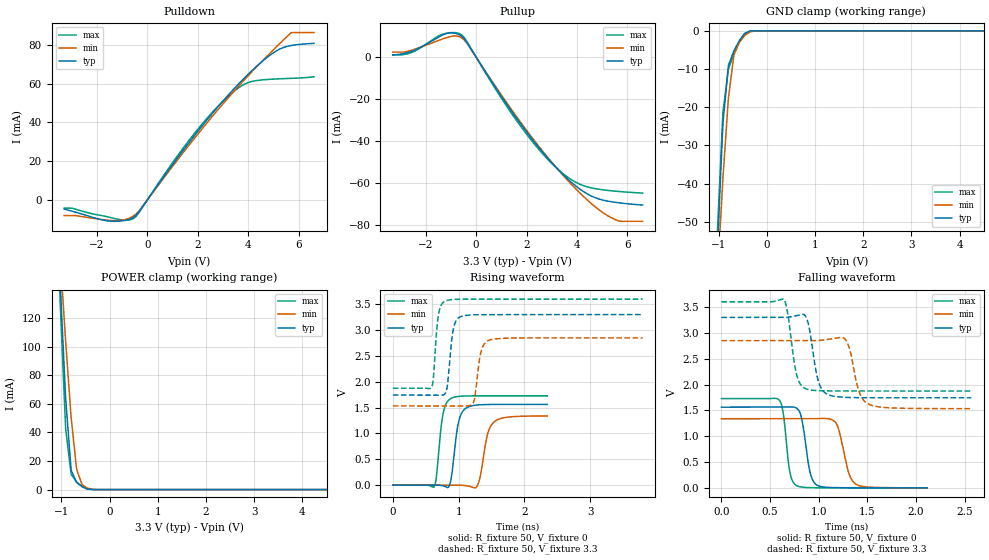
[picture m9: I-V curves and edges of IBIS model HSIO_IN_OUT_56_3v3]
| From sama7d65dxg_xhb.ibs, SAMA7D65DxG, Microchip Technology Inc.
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|   Model   HSIO_IN_OUT_66
[Model] HSIO_IN_OUT_56_3v3
Model_type I/O
Enable   Active-High
Vinl  =  0.99
Vinh  =  2.31
Vmeas =  1.650
| Capacitance   typ   min   max
C_comp   1.083254671296366e-12   1.03480808494306e-12   1.153154263475565e-12
| Variables   typ   min   max
[GND Clamp Reference]   0   0   0
[POWER Clamp Reference]   3.3   2.85   3.6
[Pulldown Reference]   0   0   0
[Pullup Reference]   3.3   2.85   3.6
[Temperature Range]   25   125   -40
[Voltage Range]   3.3   2.85   3.6
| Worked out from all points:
|   slope of the pulldown table from 0 to 0.495 V, typ, clamps not added: 54.1 ohm
|   slope of the pullup table from 0 to 0.495 V, typ, clamps not added: 52.9 ohm
|   GND clamp passes 1 mA (typ) near -0.48 V on its own axis
|   POWER clamp passes 1 mA (typ) near -0.50 V on its own axis
|   falling waveform, R_fixture 50, V_fixture 0: 20-80 % time 75.3ps typ, 98.3ps min, 59.3ps max; typ from 1.56 V to 0.001 V
|   falling waveform, R_fixture 50, V_fixture 3.3: 20-80 % time 85.6ps typ, 98.8ps min, 77.4ps max; typ from 3.3 V to 1.74 V
|   rising waveform, R_fixture 50, V_fixture 0: 20-80 % time 97.8ps typ, 117ps min, 86.8ps max; typ from 0 V to 1.56 V
|   rising waveform, R_fixture 50, V_fixture 3.3: 20-80 % time 74.3ps typ, 85.7ps min, 63.3ps max; typ from 1.74 V to 3.3 V
[GND Clamp]
| Voltage   I(typ)   I(min)   I(max)
-3.3V     -929.1mA   -542.5mA   -1.152A
-1.024V   -57.01mA   -64.02mA   -52.43mA
-910.3mV  -24.22mA   -38.7mA    -21.36mA
-796.6mV  -9.061mA   -17.64mA   -10.08mA
-682.8mV  -5.281mA   -6.355mA   -5.967mA
-569mV    -2.529mA   -3.013mA   -2.708mA
-455.2mV  -640.2uA   -1.179mA   -678.5uA
-341.4mV  -33.9uA    -245.4uA   -23.6uA
-113.8mV  -8.994nA   -845.8nA   -7.941nA
6.6V      0A         0A         0A
[POWER Clamp]
| Voltage   I(typ)   I(min)   I(max)
-3.3V     2.134A     1.237A     2.671A
-1.138V   234.7mA    225.9mA    258.9mA
-1.024V   144.5mA    163.2mA    130.8mA
-910.3mV  63.71mA    103.5mA    42.49mA
-796.6mV  13.62mA    50.36mA    10.73mA
-682.8mV  4.949mA    14.13mA    5.274mA
-569mV    2.064mA    3.434mA    2.12mA
-455.2mV  354.3uA    970.5uA    372.2uA
-227.6mV  175.6nA    10.62uA    16.97nA
6.6V      0A         0A         0A
[Pulldown]
| Voltage   I(typ)   I(min)   I(max)
-3.3V     -4.852mA   -8.208mA   -4.346mA
-1.593V   -10.93mA   -10.58mA   -8.825mA
-1.024V   -10.99mA   -10.62mA   -10.45mA
-569mV    -9.287mA   -8.479mA   -9.859mA
-227.6mV  -4.236mA   -3.977mA   -4.528mA
1.934V    34.38mA    32.96mA    35.5mA
2.731V    47.13mA    45.61mA    47.51mA
3.528V    58.78mA    57.55mA    57.11mA
4.097V    66.27mA    65.63mA    61.08mA
4.893V    75.16mA    76.36mA    62.36mA
5.69V     79.8mA     86.43mA    62.82mA
6.6V      80.95mA    86.52mA    63.61mA
[Pullup]
| Voltage   I(typ)   I(min)   I(max)
-3.3V     1.033mA    2.359mA    1.029mA
-2.503V   2.971mA    3.461mA    2.42mA
-1.138V   11.4mA     9.366mA    11.36mA
-569mV    9.931mA    9.117mA    10.55mA
-341.4mV  6.562mA    6.22mA     6.963mA
1.707V    -30.74mA   -30.01mA   -31.86mA
2.503V    -43.23mA   -42.67mA   -44.09mA
3.3V      -54.06mA   -54.2mA    -53.91mA
4.324V    -64.44mA   -67mA      -61.36mA
5.234V    -68.47mA   -75.52mA   -63.38mA
5.69V     -69.29mA   -78mA      -63.9mA
6.6V      -70.31mA   -78.04mA   -64.64mA
[Ramp]
dV/dt_r   0.937425/97.8986p  0.802887/0.117528n  1.03695/86.8794p
dV/dt_f   0.934715/85.6598p  0.790328/98.8607p  1.03548/77.4706p
R_load = 50
[Falling Waveform]
R_fixture = 50
V_fixture = 0
V_fixture_min = 0
V_fixture_max = 0
| Time   V(typ)   V(min)   V(max)
0s        1.562V     1.338V     1.728V
594.4ps   1.563V     1.338V     1.697V
634.6ps   1.563V     1.338V     1.45V
702.5ps   1.568V     1.338V     309.7mV
777.4ps   1.536V     1.338V     38.34mV
913.7ps   276.5mV    1.339V     4.704mV
975.2ps   61.02mV    1.34V      2.655mV
1.184ns   4.744mV    1.235V     936.3uV
1.386ns   1.397mV    66.5mV     752.6uV
2.113ns   899.7uV    886.8uV    751.1uV
[Falling Waveform]
R_fixture = 50
V_fixture = 3.3
V_fixture_min = 2.85
V_fixture_max = 3.6
| Time   V(typ)   V(min)   V(max)
0s        3.3V       2.85V      3.6V
640.2ps   3.299V     2.849V     3.648V
771.5ps   3.335V     2.849V     2.197V
876.3ps   3.276V     2.849V     1.912V
991.7ps   2.092V     2.853V     1.882V
1.096ns   1.805V     2.876V     1.877V
1.28ns    1.752V     2.857V     1.875V
1.411ns   1.746V     1.878V     1.875V
1.505ns   1.744V     1.627V     1.875V
2.567ns   1.743V     1.533V     1.875V
[Rising Waveform]
R_fixture = 50
V_fixture = 0
V_fixture_min = 0
V_fixture_max = 0
| Time   V(typ)   V(min)   V(max)
0s        36.38nV    315.9nV    138.3nV
626.7ps   -730.3uV   -507.3uV   -34.75mV
758.7ps   -14mV      -614.1uV   1.345V
879.9ps   81.64mV    -712.3uV   1.675V
988.9ps   1.158V     -800.6uV   1.714V
1.098ns   1.477V     -9.768mV   1.724V
1.289ns   1.551V     722.4nV    1.727V
1.441ns   1.559V     988.6mV    1.727V
1.539ns   1.561V     1.222V     1.728V
2.348ns   1.562V     1.337V     1.728V
[Rising Waveform]
R_fixture = 50
V_fixture = 3.3
V_fixture_min = 2.85
V_fixture_max = 3.6
| Time   V(typ)   V(min)   V(max)
0s        1.742V     1.533V     1.874V
590.6ps   1.742V     1.532V     1.895V
689.9ps   1.741V     1.532V     3.264V
800ps     1.781V     1.532V     3.565V
916.1ps   2.996V     1.532V     3.593V
1.025ns   3.257V     1.531V     3.598V
1.232ns   3.295V     1.621V     3.599V
1.339ns   3.298V     2.572V     3.599V
1.448ns   3.299V     2.796V     3.599V
3.797ns   3.3V       2.849V     3.599V
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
